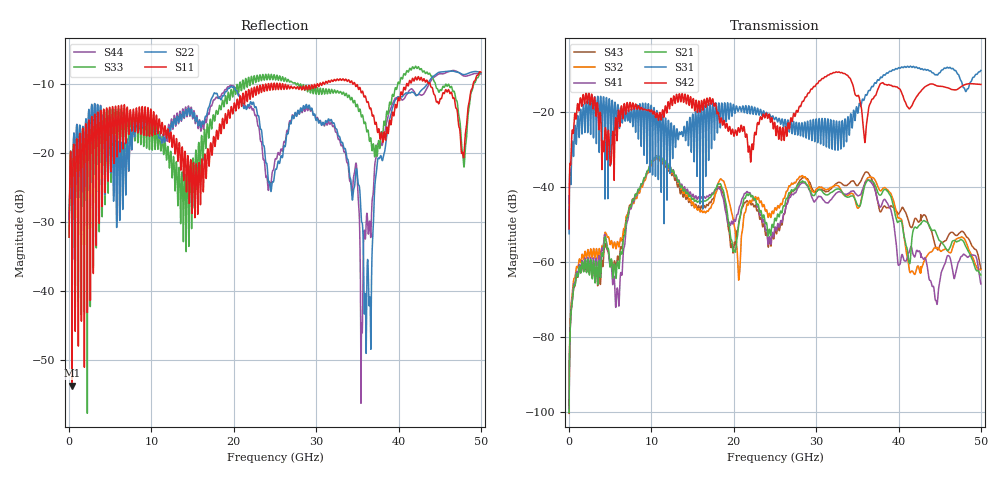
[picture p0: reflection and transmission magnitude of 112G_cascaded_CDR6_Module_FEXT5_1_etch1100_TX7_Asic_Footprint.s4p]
! Created Tue Feb 26 21:55:02 2019
# hz S ma R 50
! 4 Port Network Data from SP1.SP block
! freq  magS11  angS11  magS12  angS12  magS13  angS13  magS14  angS14
!  magS21  angS21  magS22  angS22  magS23  angS23  magS24  angS24
!  magS31  angS31  magS32  angS32  magS33  angS33  magS34  angS34
!  magS41  angS41  magS42  angS42  magS43  angS43  magS44  angS44
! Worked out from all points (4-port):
!   5000 points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, 10 MHz to 50 GHz, reference 50 ohm
!   strongest paths, dB at 10 MHz, 12.51 GHz, 25.01 GHz, 37.51 GHz, 50 GHz:
!     S42: -51.3, -18.1, -23.3, -13.9, -12.7
!     S31: -52.5, -26.6, -21.9, -11.4, -8.9
!     S21: -100.2, -36.0, -48.4, -41.6, -63.6
!     S41: -99.6, -36.1, -50.7, -44.1, -66.0
!     S32: -98.3, -36.4, -45.6, -40.1, -62.1
!     S43: -100.5, -37.0, -51.4, -44.5, -61.9
!   lowest |S11| = -53.7 dB at 380 MHz (marker M1), VSWR 1.00, Z = 50 - j0.204 ohm
!   |S11| at or under -10 dB: start of sweep to 23.86 GHz; 34.72 GHz to 40.97 GHz (6.244 GHz wide, 16.5 % of centre); 43.84 GHz to 49.06 GHz (5.219 GHz wide, 11.2 % of centre)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
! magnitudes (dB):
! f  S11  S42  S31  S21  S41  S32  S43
! 10 MHz  -32.2  -51.3  -52.5  -100.2  -99.6  -98.3  -100.5
! 380 MHz  -53.7  -25.0  -28.1  -70.8  -70.0  -68.8  -71.0
! 10.72 GHz  -16.1  -20.4  -20.7  -32.1  -32.3  -32.6  -32.7
! 20.61 GHz  -13.5  -24.5  -19.3  -49.9  -46.1  -64.8  -49.4
! 36.51 GHz  -13.6  -18.0  -14.3  -38.2  -38.5  -37.4  -36.9
! 39.63 GHz  -12.9  -13.3  -8.5  -47.8  -53.6  -45.7  -46.4
! 50 GHz  -8.2  -12.7  -8.9  -63.6  -66.0  -62.1  -61.9
